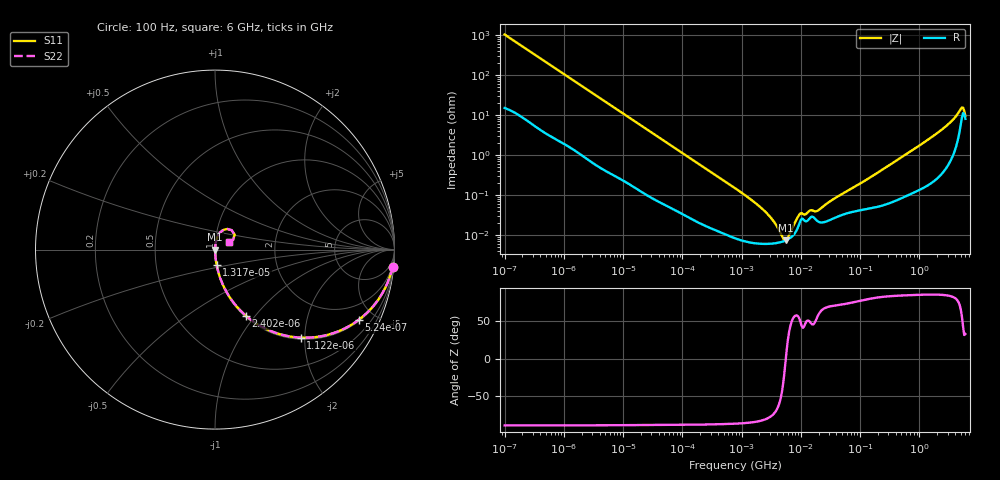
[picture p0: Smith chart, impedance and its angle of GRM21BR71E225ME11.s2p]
!Murata Part Number: GRM21BR71E225ME11
!These Parameters are Measured in Series Mode Connection
!Data Generated on Mar 30, 2021
!  o--ll--o
!Port1  Port2
!  o------o
!Operation Temp=25[degC], DC Bias Voltage=0[V]
!Freq. Start=100[Hz] Stop=6[GHz] 401[Steps]
# Hz S RI R 50
!Freq.(Hz) S11(Real) S11(Imag) S21(Real) S21(Imag) S12(Real) S12(Imag) S22(Real) S22(Imag)
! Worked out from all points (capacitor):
!   401 points, 100 Hz to 6 GHz, reference 50 ohm
!   read as one part in series: C = 1.52 uF near 109 Hz
!   lowest |Z| = 7.33 mohm at 5.555 MHz (marker M1)
!   series resonance near 5.579 MHz, so ESL is about 540 pH
!   S11 on the Smith chart (normalised r, x): 100 Hz: 1, -21; 524 Hz: 1.07, -4.06; 1.122 kHz: 1.03, -1.91; 2.402 kHz: 1.02, -0.90; 13.17 kHz: 1.00, -0.17; 6 GHz: 1.16, +0.11
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100  0.9896 -0.0946  0.0104 0.0946  0.0104 0.0946  0.9896 -0.0946
268  0.9363 -0.2361  0.0637 0.2361  0.0637 0.2361  0.9363 -0.2361
524  0.8009 -0.3912  0.1991 0.3912  0.1991 0.3912  0.8009 -0.3912
1122  0.4782 -0.4905  0.5218 0.4905  0.5218 0.4905  0.4782 -0.4905
2008  0.2289 -0.4111  0.7711 0.4111  0.7711 0.4111  0.2289 -0.4111
2402  0.1735 -0.3697  0.8265 0.3697  0.8265 0.3697  0.1735 -0.3697
4702  0.0547 -0.2183  0.9453 0.2183  0.9453 0.2183  0.0547 -0.2183
13169  0.00877 -0.083  0.9912 0.083  0.9912 0.083  0.00877 -0.083
40335  0.00145 -0.0277  0.9986 0.0277  0.9986 0.0277  0.00145 -0.0277
774597  8.55e-05 -0.00149  0.9999 0.00149  0.9999 0.00149  8.55e-05 -0.00149
2268635  6.05e-05 -0.000441  0.9999 0.000441  0.9999 0.000441  6.05e-05 -0.000441
3245845  6.12e-05 -0.000246  0.9999 0.000246  0.9999 0.000246  6.12e-05 -0.000246
4643984  6.69e-05 -8.12e-05  0.9999 8.12e-05  0.9999 8.12e-05  6.69e-05 -8.12e-05
5554849  7.33e-05 -1.9e-06  0.9999 1.9e-06  0.9999 1.9e-06  7.33e-05 -1.9e-06
6644369  8.51e-05 8.08e-05  0.9999 -8.08e-05  0.9999 -8.08e-05  8.51e-05 8.08e-05
9506416  0.000198 0.000264  0.9998 -0.000264  0.9998 -0.000264  0.000198 0.000264
1.555665e7  0.000289 0.000299  0.9997 -0.000299  0.9997 -0.000299  0.000289 0.000299
1.946e7  0.00022 0.000348  0.9998 -0.000348  0.9998 -0.000348  0.00022 0.000348
3.124326e8  0.000657 0.00559  0.9993 -0.00559  0.9993 -0.00559  0.000657 0.00559
2.240541e9  0.00465 0.0399  0.9954 -0.0399  0.9954 -0.0399  0.00465 0.0399
5.016141e9  0.0692 0.1149  0.9308 -0.1149  0.9308 -0.1149  0.0692 0.1149
6e9  0.0772 0.0451  0.9228 -0.0451  0.9228 -0.0451  0.0772 0.0451
